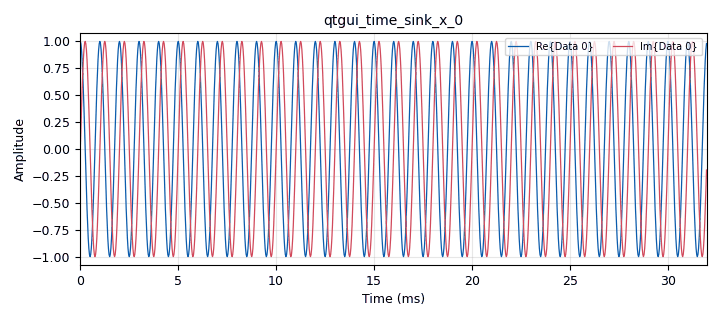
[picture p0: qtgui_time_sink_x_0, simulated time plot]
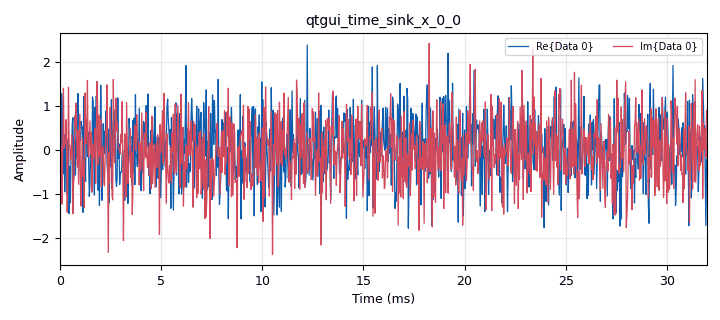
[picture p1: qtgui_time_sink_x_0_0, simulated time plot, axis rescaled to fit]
options:
  parameters:
    author: Gilon Kraft
    generate_options: qt_gui
    id: virtualSinksSources
    output_language: python
    title: Not titled yet
  states: {}

blocks:
- name: samp_rate
  id: variable
  parameters:
    value: '32000'
  states: {}
- name: analog_noise_source_x_0
  id: analog_noise_source_x
  parameters:
    amp: '1'
    noise_type: analog.GR_GAUSSIAN
    seed: '0'
    type: complex
  states: {}
- name: analog_sig_source_x_0
  id: analog_sig_source_x
  parameters:
    amp: '1'
    freq: '1000'
    offset: '0'
    phase: '0'
    samp_rate: samp_rate
    type: complex
    waveform: analog.GR_COS_WAVE
  states: {}
- name: qtgui_time_sink_x_0
  id: qtgui_time_sink_x
  parameters:
    size: '1024'
    srate: samp_rate
    type: complex
  states: {}
- name: qtgui_time_sink_x_0_0
  id: qtgui_time_sink_x
  parameters:
    size: '1024'
    srate: samp_rate
    type: complex
  states: {}
- name: virtual_sink_0
  id: virtual_sink
  parameters:
    stream_id: signalSource
  states: {}
- name: virtual_sink_0_0
  id: virtual_sink
  parameters:
    stream_id: noiseSource
  states: {}
- name: virtual_source_0
  id: virtual_source
  parameters:
    stream_id: signalSource
  states: {}
- name: virtual_source_1
  id: virtual_source
  parameters:
    stream_id: noiseSource
  states: {}

connections:
- [analog_noise_source_x_0, '0', virtual_sink_0_0, '0']
- [analog_sig_source_x_0, '0', virtual_sink_0, '0']
- [virtual_source_0, '0', qtgui_time_sink_x_0, '0']
- [virtual_source_1, '0', qtgui_time_sink_x_0_0, '0']

metadata:
  file_format: 1
  grc_version: 3.10.12.0
